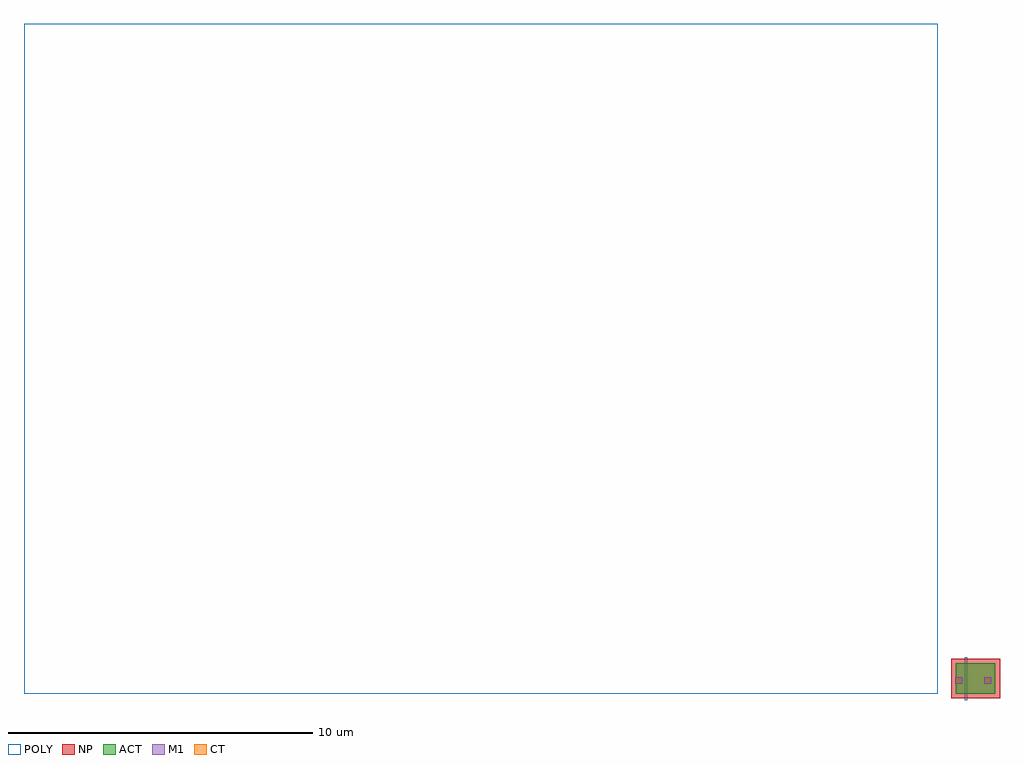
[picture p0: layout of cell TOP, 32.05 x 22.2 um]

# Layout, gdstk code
import gdstk
lib = gdstk.Library(unit=1e-6, precision=1e-09)
def R(c, l, rs):  # rectangles x0, y0, x1, y1
    for r in rs: c.add(gdstk.rectangle(r[:2], r[2:], *l))
ACT = (2, 1)
POLY = (41, 1)
NP = (52, 1)
CT = (72, 1)
M1 = (81, 1)

top = lib.new_cell('TOP')
R(top, ACT, [(30.6,0,31.9,1)])
R(top, POLY, [(30.9,-0.2,30.97,1.2), (0,0,30,22)])
R(top, NP, [(30.45,-0.15,32.05,1.15)])
R(top, CT, [(30.65,0.4,30.74,0.49), (31.6,0.4,31.69,0.49)])
R(top, M1, [(30.585,0.335,30.805,0.555), (31.535,0.335,31.755,0.555)])

lib.write_gds('TOP.gds')
